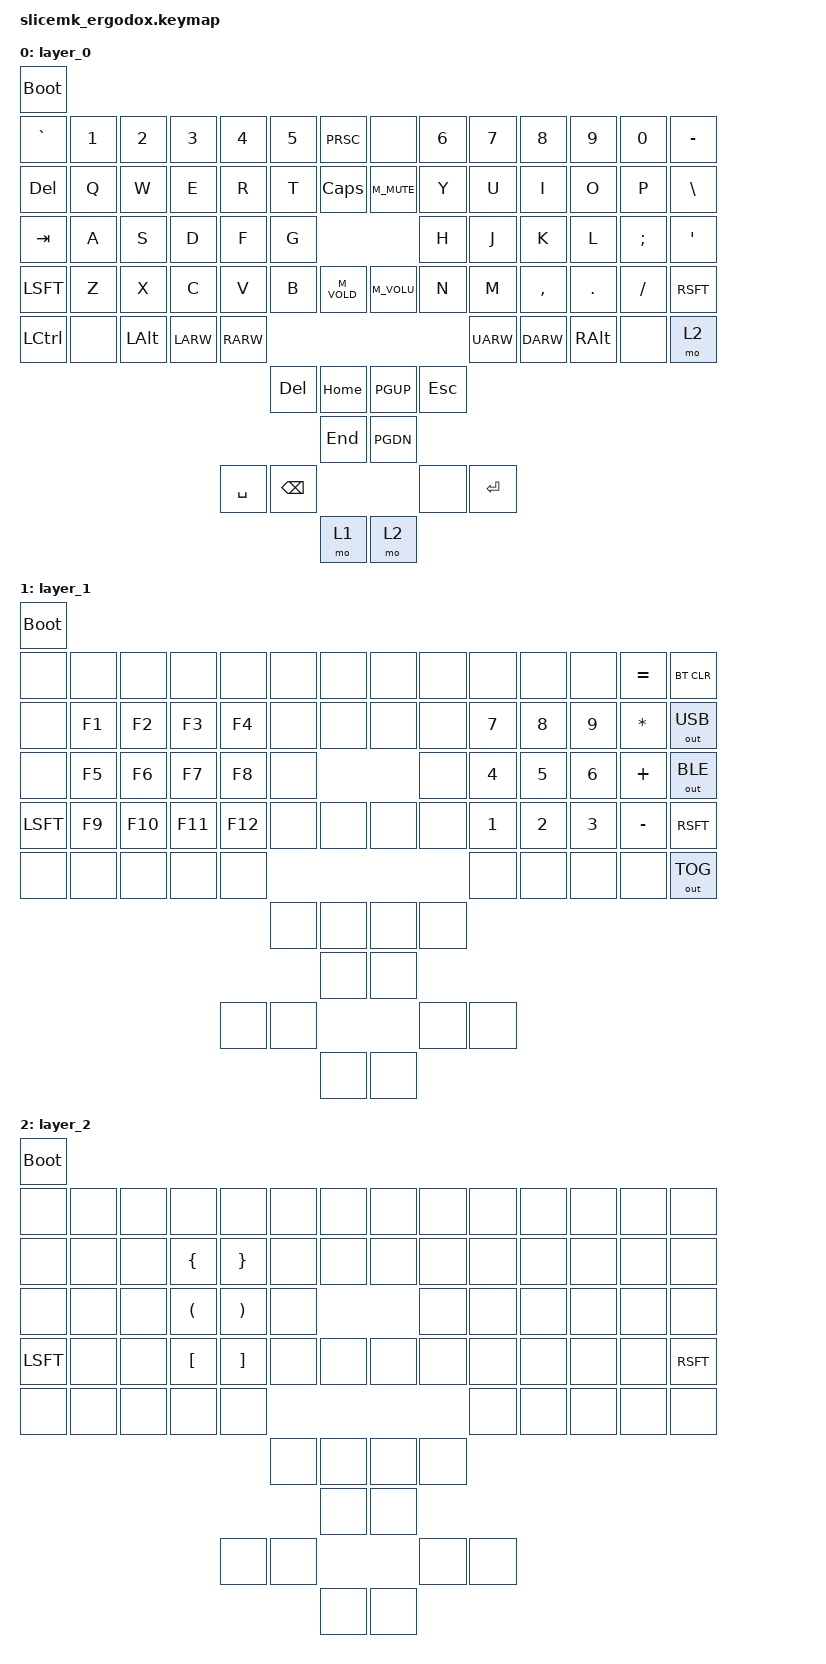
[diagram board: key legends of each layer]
#include <behaviors.dtsi>
#include <dt-bindings/zmk/bt.h>
#include <dt-bindings/zmk/keys.h>
#include <dt-bindings/zmk/outputs.h>

/ {
        keymap {
                compatible = "zmk,keymap";

                // This is the default test layer meant for testing that every
                // key on your keyboard works. Once you have completed this
                // basic test, you can delete this first section and layer_0
                // will become your default layer.
               
                layer_0 {
                        bindings = <
    &bootloader
    &kp GRAV   &kp NUM_1  &kp NUM_2  &kp NUM_3  &kp NUM_4  &kp NUM_5  &kp PRSC   &none      &kp NUM_6  &kp NUM_7  &kp NUM_8  &kp NUM_9  &kp NUM_0  &kp MINUS
    &kp DEL    &kp Q      &kp W      &kp E      &kp R      &kp T      &kp CLCK   &kp M_MUTE &kp Y      &kp U      &kp I      &kp O      &kp P      &kp BSLH
    &kp TAB    &kp A      &kp S      &kp D      &kp F      &kp G                            &kp H      &kp J      &kp K      &kp L      &kp SEMI   &kp APOS
    &kp LSFT   &kp Z      &kp X      &kp C      &kp V      &kp B      &kp M_VOLD &kp M_VOLU &kp N      &kp M      &kp CMMA   &kp DOT    &kp FSLH   &kp RSFT
    &kp LCTL   &none      &kp LALT   &kp LARW   &kp RARW                                               &kp UARW   &kp DARW   &kp RALT   &none      &mo 2
                                                           &kp DEL    &kp HOME   &kp PGUP    &kp ESC
                                                                      &kp END    &kp PGDN
                                                &kp SPC    &kp BKSP                         &none      &kp RET
                                                                      &mo 1      &mo 2
                        >;
                };

                layer_1 {
                        bindings = <
    &bootloader
    &none      &none      &none      &none      &none      &none      &none      &none      &none      &none      &none      &none      &kp EQUAL  &bt BT_CLR
    &none      &kp F1     &kp F2     &kp F3     &kp F4     &none      &none      &none      &none      &kp NUM_7  &kp NUM_8  &kp NUM_9  &kp STAR   &out OUT_USB
    &none      &kp F5     &kp F6     &kp F7     &kp F8     &none                            &none      &kp NUM_4  &kp NUM_5  &kp NUM_6  &kp PLUS   &out OUT_BLE
    &kp LSFT   &kp F9     &kp F10    &kp F11    &kp F12    &none      &none      &none      &none      &kp NUM_1  &kp NUM_2  &kp NUM_3  &kp MINUS  &kp RSFT
    &none      &none      &none      &none      &none                                                  &none      &none      &none      &none      &out OUT_TOG
                                                           &none      &none      &none      &none
                                                                      &none      &none
                                                &none      &none                            &none      &none
                                                                      &none      &none
                        >;
                };

                layer_2 {
                        bindings = <
    &bootloader
    &none      &none      &none      &none      &none      &none      &none      &none      &none      &none      &none      &none      &none      &none
    &none      &none      &none      &kp LBRC   &kp RBRC   &none      &none      &none      &none      &none      &none      &none      &none      &none
    &none      &none      &none      &kp LPAR   &kp RPAR   &none                            &none      &none      &none      &none      &none      &none
    &kp LSFT   &none      &none      &kp LBKT   &kp RBKT   &none      &none      &none      &none      &none      &none      &none      &none      &kp RSFT
    &none      &none      &none      &none      &none                                                  &none      &none      &none      &none      &none
                                                           &none      &none      &none      &none
                                                                      &none      &none
                                                &none      &none                            &none      &none
                                                                      &none      &none
                        >;
                };

        };
};
